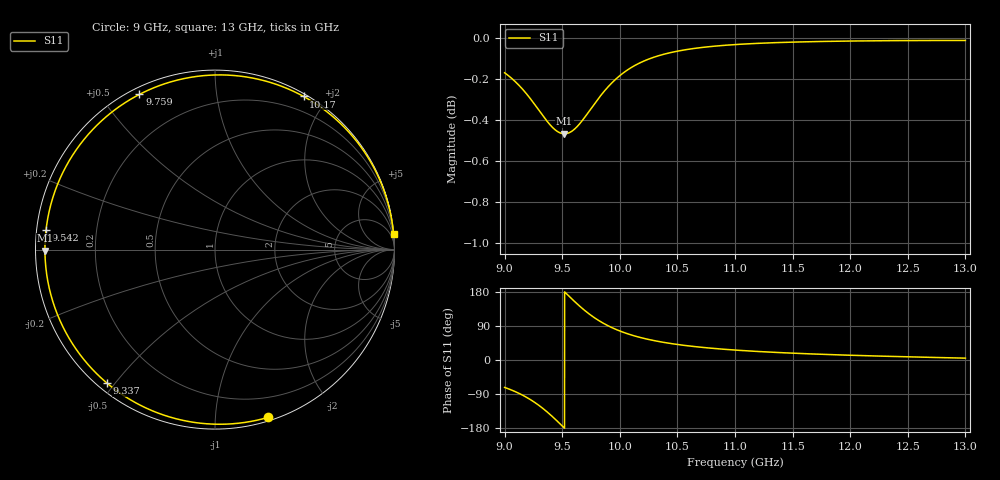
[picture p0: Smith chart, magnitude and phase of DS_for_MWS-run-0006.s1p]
! TOUCHSTONE file generated by CST DESIGN STUDIO
! Date and time: Tue Feb  4 14:05:38 2025
! Project name: C:\Work\MatlabApps\UnitCellOptimizationMatlab\CST\unitcell.cst
! Tree item: Tasks\Sweep1\SPara1\S-Parameters
! Header version: 2024
! Port assignment regex: !\s*Touchstone port\s*([0-9]+)\s*=\s*(CST MWS port|CST DES external port|CST DES block port)\s*(.+)\s* \(\"(.*)\"\)(\s*mode\s*([0-9]+))?.*
! Touchstone port assignment:
! Touchstone port 1 = CST DES external port 1 ("")
# GHz S MA R 50
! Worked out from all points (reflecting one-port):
!   4001 points, 9 GHz to 13 GHz, reference 50 ohm
!   lowest |S11| = -0.5 dB at 9.519 GHz (marker M1), VSWR 37.15, Z = 1.35 - j0.138 ohm
!   phase of S11 starts at -72 deg and turns -283 deg over the sweep
!   S11 on the Smith chart (normalised r, x): 9 GHz: 0.03, -1.37; 9.337 GHz: 0.03, -0.48; 9.542 GHz: 0.03, +0.06; 9.759 GHz: 0.03, +0.63; 10.17 GHz: 0.03, +1.73; 13 GHz: 0, +23
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9  0.9805 -72.4
9.092  0.9757 -83.4
9.197  0.9685 -99.6
9.27  0.9625 -113.7
9.337  0.9568 -128.9
9.381  0.9533 -140.1
9.427  0.9503 -152.7
9.464  0.9486 -163.4
9.5  0.9477 -174.0
9.519  0.9476 -179.7
9.542  0.9477 173.4
9.596  0.9495 157.6
9.656  0.9532 140.9
9.707  0.9573 127.9
9.759  0.9618 115.9
9.809  0.966 105.7
9.864  0.9704 95.8
10  0.9789 76.6
10.082  0.9827 67.8
10.171  0.9858 59.9
10.321  0.9896 49.8
10.5  0.9924 41.0
10.722  0.9946 33.1
11  0.9961 26.2
11.5  0.9975 18.0
12  0.9981 12.5
12.5  0.9983 8.4
13  0.9984 4.9
